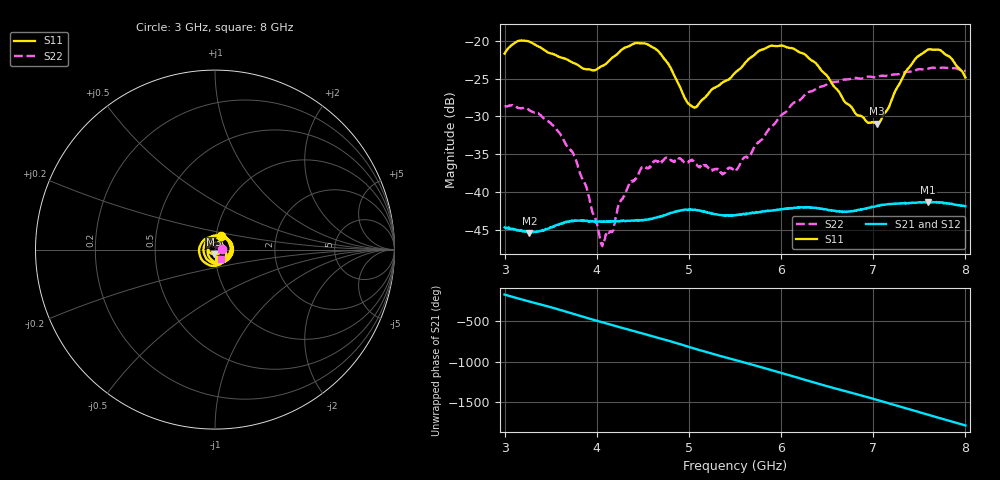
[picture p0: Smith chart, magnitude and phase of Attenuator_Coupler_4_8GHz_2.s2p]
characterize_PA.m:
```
clc 
clear all

% figure;
% hold on;
% before using this file to characterize your PA, please make sure you have
% biased your amplifier and turn the power supplies ON. To minimize the
% possibility of damaging your device, we only take measurements from the 
% DC power supplies. We do not turn the power supplies ON or OFF.
%%
% single-ended or doherty amplifier measurement
is_doherty = 1;

% frequency settings 
f_start =4.7e9;
f_stop =5.3e9;
f_step = 0.1e9;

% desired characterization power range (in dBm) at the output of the driver
p_c_start = 20;
p_c_stop = 30;
p_c_step = 1; % coarse step

% p_f_start = 30;
% p_f_stop = 31;
% p_f_step = 1; % fine step

% it is important to set the signal generator's maximum allowable input to
% avoid damaging the driver and PA during the automatic sweep
% ESG_Add = num2str(19);
% ESG_max_power = 0;
SG=SignalGenerator_E8267D(19,-16);

% create the power meter
% PM_Add = num2str(15);
PM = PowerMeter_N1911A(15);

% create the driver 
DR = Driver('driver_data_2017-08-21-10-44');
% DR = Driver('driver_data_2015-02-22-12-50');
% DR = Driver('driver_data_2015-02-21-16-59_625to1075_G=45perc');

% DR = Driver('driver_data_2015-02-21-22-05');

% create the output coupler/attenuator
ATN=Attenuator('Attenuator_Coupler_4_8GHz_2.s2p');
% ATN=Attenuator('Attenuator_WilkAeroflex_33dB_Oct31.s2p');

% create the main power supply
% PS_m_Add = num2str(5); % GPIB address for the main power source
PS_m = PowerSupply_N6705A(5);
PS_m_chan = 1; % channel to measure from

% create the auxiliary power supply
if(is_doherty)
%     PS_a_Add = num2str(6); % GPIB address for the aux power source
    PS_a = PowerSupply_F3643A(7);
end

% connect to the instruments
SG.connect;
PM.connect;
PS_m.connect;
if(is_doherty)
    PS_a.connect;
end

% preset the signal generator and power meter 
% SG.preset;
PM.preset;
SG.modulation_off

f_points = 1+(f_stop-f_start)/f_step;
p_c_points = 1+(p_c_stop-p_c_start)/p_c_step;
% p_f_points = 1+(p_f_stop-p_f_start)/p_f_step;

% pre-allocate memory for the data
% data(1:f_points) = struct( 'frequency', 0, 'table', zeros(p_c_points+p_f_points,10));
data(1:f_points) = struct( 'frequency', 0, 'table', zeros(p_c_points,10));

for freq=f_start:f_step:f_stop
    f_idx = 1+(freq-f_start)/f_step;
    fprintf('Frequency is %g Hz (%d of %d)\n', freq, f_idx, f_points);
    SG.frequency(freq);
    PM.frequency(freq);
    PM.offset(ATN.attenuation(freq)+0.5);
    fprintf('Attenuation at %g Hz is %g dB\n', freq, ATN.attenuation(freq)+0.5);
    %PM.offset(0);
    PM.zero_and_cal;
        
    data(f_idx).frequency = freq;   
    
    % coarse power sweep
    for p_in=p_c_start:p_c_step:p_c_stop
        p_idx = 1+(p_in-p_c_start)/p_c_step;                
        
        p_sg = DR.sg_power_for(freq, p_in);
        SG.power(p_sg);
        p_sg = SG.power; % read what the actual signal generator power is
        fprintf('SG power is %02.2f \n', p_sg);
        fprintf('p_in is %02.2f \n', p_in);
                
        SG.rf(1); % measurement start    
        pause(2);
        V_m = PS_m.voltage(PS_m_chan);
        I_m = PS_m.current(PS_m_chan);
        if(is_doherty)
            V_a = PS_a.voltage;
            I_a = PS_a.current;
        end
        p_out = PM.measure;
        SG.rf(0); % measurement end
        
        fprintf('P_out is %2.4f \n', p_out);
        fprintf('I_m is %2.4f \n', I_m);
        
        if(is_doherty)
            fprintf('I_a is %2.4f \n', I_a);                        
        else
            V_a = 0;
            I_a = 0;
        end

        gain = p_out-p_in;
        fprintf('Gain is %2.4f \n', gain);
        p_out_w = 10^((p_out-30)/10); % p_out in Watts
        p_in_w = 10^((p_in-30)/10); % p_in in Watts
        p_dc = (V_m*I_m+V_a*I_a);
        DE = 100*p_out_w/p_dc;
        fprintf('DE is %3.2f\n', DE);
        fprintf('---------------\n');
        PAE = 100*(p_out_w - p_in_w)/p_dc;
        
        
        % create the data table
        data(f_idx).table(p_idx,1) = p_sg;     % signal generator power level
        data(f_idx).table(p_idx,2) = p_in;  % PA_in (a.k.a Driver_out)
        data(f_idx).table(p_idx,3) = p_out; % PA_out
        data(f_idx).table(p_idx,4) = gain;     % gain
        data(f_idx).table(p_idx,5) = V_m;      % main voltage
        data(f_idx).table(p_idx,6) = I_m;      % main current
        data(f_idx).table(p_idx,7) = V_a;      % auxiliary voltage
        data(f_idx).table(p_idx,8) = I_a;      % auxiliary current
        data(f_idx).table(p_idx,9) = PAE;      % PAE
        data(f_idx).table(p_idx,10) = DE;      % drain efficiency    
        %pause(2);
    end
    
    
    % fine power sweep
%     for p_in=p_f_start:p_f_step:p_f_stop
%         p_idx = 1+(p_in-p_f_start)/p_f_step + p_c_points; % index accounts for coarse data points
%         
%         p_sg = DR.sg_power_for(freq, p_in);
%         SG.power(p_sg);
%         p_sg = SG.power; % read what the actual signal generator power is
%         fprintf('SG power is %02.2f \n', p_sg);
%         fprintf('p_in is %02.2f \n', p_in);
%                 
%         SG.rf(1); % measurement start 
%         pause(2);
%         V_m = PS_m.voltage(PS_m_chan);
%         I_m = PS_m.current(PS_m_chan);
%         if(is_doherty)
%             V_a = PS_a.voltage;
%             I_a = PS_a.current;
%         end
%         p_out = PM.measure;
%         SG.rf(0); % measurement end
%         
%         fprintf('p_out is %2.4f \n', p_out);
%         fprintf('I_m is %2.4f \n', I_m);
%         
%         if(is_doherty)
%             fprintf('I_a is %2.4f \n', I_a);                        
%         else
%             V_a = 0;
%             I_a = 0;
%         end
% 
%         gain = p_out-p_in;
%         fprintf('Gain is %2.4f \n', gain);
%         p_out_w = 10^((p_out-30)/10); % p_out in Watts
%         p_in_w = 10^((p_in-30)/10); % p_in in Watts
%         p_dc = (V_m*I_m+V_a*I_a);
%         DE = 100*p_out_w/p_dc;
%         fprintf('DE is %3.2f\n', DE); 
%         fprintf('---------------\n');
%         PAE = 100*(p_out_w - p_in_w)/p_dc;
%         
%         
%         % create the data table
%         data(f_idx).table(p_idx,1) = p_sg;     % signal generator power level
%         data(f_idx).table(p_idx,2) = p_in;  % PA_in (a.k.a Driver_out)
%         data(f_idx).table(p_idx,3) = p_out; % PA_out
%         data(f_idx).table(p_idx,4) = gain;     % gain
%         data(f_idx).table(p_idx,5) = V_m;      % main voltage
%         data(f_idx).table(p_idx,6) = I_m;      % main current
%         data(f_idx).table(p_idx,7) = V_a;      % auxiliary voltage
%         data(f_idx).table(p_idx,8) = I_a;      % auxiliary current
%         data(f_idx).table(p_idx,9) = PAE;      % PAE
%         data(f_idx).table(p_idx,10) = DE;      % drain efficiency       
%         %pause(2);
%     end
end
%
%
i_m = data(f_idx).table(:,6);
pin = data(f_idx).table(:,2);
vin = 10.^((pin-30)/20);
% figure(1)
% figure; plot(data(f_idx).table(:,3),data(f_idx).table(:,10));
% figure(2)
% figure; plot(data(f_idx).table(:,3),data(f_idx).table(:,4))
% figure; plot(vin,i_m)
% hold off;
data_file_name = [ 'PA_data_' datestr(now,'yyyy-mm-dd-HH-MM' )];
save(data_file_name, 'data');
%
%
close all
linestyle1=char('-ro', '-m*', '-c^', '-bv', '-gs', '-y>', '-k<');
% load('PA_data_2017-08-19-21-39')
Nf=length(data);
freq=zeros(1,Nf);
Psat=zeros(1,Nf);
for i=1:Nf
    freq(i)=data(i).frequency;
    Psat(i)=max(data(i).table(:,3));
end 
% figure; plot(data(f_idx).table(:,3),data(f_idx).table(:,10))
% figure; plot(data(f_idx).table(:,3),data(f_idx).table(:,4))
figure(1)
hold on
for i=1:Nf
    plot(data(i).table(:,3),data(i).table(:,10),linestyle1(i,:),'linewidth',1)
end
% for i=1:Nx
%     plot(Pout_dB_mark(:,i),eff_mark(:,i),linestyle1(i,2:3),'linewidth',2);
%     plot(Pout_dB(:,i),eff(:,i),linestyle1(i,1:2),'linewidth',2);
% end
set(gcf,'color','w');
axis([20,40,0,60]);
h=legend('4.7GHz','4.8GHz','4.9GHz','5.0GHz','5.1GHz','5.2GHz','5.3GHz');
set(h,'fontsize',14,'fontname','Times New Roman')
% title('DE vs Normalized Pout for various x_n','fontsize',14,'fontname','Times New Roman');
xlabel('Output Power (dBm)','fontsize',15,'fontname','Times New Roman','fontweight','b');
ylabel('Drain Efficiency','fontsize',15,'fontname','Times New Roman','fontweight','b');    
hold off    
grid on
% Æ½Ê±¼òµ¥µÄ»æÍ¼ÈçÏÂ
figure(2)
hold on
for i=1:Nf
    plot(data(i).table(:,3),data(i).table(:,4),linestyle1(i,:),'linewidth',1)
end
% for i=1:Nx
%     plot(Pout_dB_mark(:,i),eff_mark(:,i),linestyle1(i,2:3),'linewidth',2);
%     plot(Pout_dB(:,i),eff(:,i),linestyle1(i,1:2),'linewidth',2);
% end
set(gcf,'color','w');
axis([20,40,0,10]);
h=legend('4.7GHz','4.8GHz','4.9GHz','5.0GHz','5.1GHz','5.2GHz','5.3GHz');
set(h,'fontsize',14,'fontname','Times New Roman')
% title('DE vs Normalized Pout for various x_n','fontsize',14,'fontname','Times New Roman');
xlabel('Output Power (dBm)','fontsize',15,'fontname','Times New Roman','fontweight','b');
ylabel('Gain (dB)','fontsize',15,'fontname','Times New Roman','fontweight','b');    
hold off    
grid on
figure(3)
hold on
for i=1:Nf
    plot(data(i).table(:,3),data(i).table(:,6)*1000,linestyle1(i,:),'linewidth',1)
end
% for i=1:Nx
%     plot(Pout_dB_mark(:,i),eff_mark(:,i),linestyle1(i,2:3),'linewidth',2);
%     plot(Pout_dB(:,i),eff(:,i),linestyle1(i,1:2),'linewidth',2);
% end
set(gcf,'color','w');
axis([20,40,0,400]);
h=legend('4.7GHz','4.8GHz','4.9GHz','5.0GHz','5.1GHz','5.2GHz','5.3GHz');
set(h,'fontsize',14,'fontname','Times New Roman')
for i=1:Nf
    plot(data(i).table(:,3),data(i).table(:,8)*1000,linestyle1(i,:),'linewidth',1)
end
% title('DE vs Normalized Pout for various x_n','fontsize',14,'fontname','Times New Roman');
xlabel('Output Power (dBm)','fontsize',15,'fontname','Times New Roman','fontweight','b');
ylabel('DC Drain Current (mA)','fontsize',15,'fontname','Times New Roman','fontweight','b');    
hold off    
grid on
%
figure(4)
hold on
plot(freq/1e9, Psat, linestyle1(1,:),'linewidth',1)
set(gcf,'color','w');
axis([4.7,5.3,37,41]);
% h=legend('4.9GHz','5.0GHz','5.1GHz');
% set(h,'fontsize',14,'fontname','Times New Roman')
% title('DE vs Normalized Pout for various x_n','fontsize',14,'fontname','Times New Roman');
xlabel('Frequency (GHz)','fontsize',15,'fontname','Times New Roman','fontweight','b');
ylabel('Saturation Pout (dBm)','fontsize',15,'fontname','Times New Roman','fontweight','b');    
hold off    
grid on
```
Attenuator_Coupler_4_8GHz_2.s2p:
!Keysight Technologies,N5247A,US56070658,Z.10.62.16
!Date: Tuesday, August 15, 2017 17:07:40
!Correction: S11(Full 2 Port(1,2))
!S21(Full 2 Port(1,2))
!S12(Full 2 Port(1,2))
!S22(Full 2 Port(1,2))
!S2P File: Measurements: S11, S21, S12, S22:
# Hz S  dB  R 50
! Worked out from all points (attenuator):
!   1001 points, 3 GHz to 8 GHz, reference 50 ohm
!   highest |S21| = -41.29 dB at 7.595 GHz (marker M1); lowest = -45.4 dB at 3.27 GHz (marker M2)
!   lowest |S11| = -31.0 dB at 7.04 GHz (marker M3), VSWR 1.06, Z = 49.1 - j2.67 ohm
!   |S11| at or under -10 dB: start of sweep to end of sweep
!   |S22| runs from -47.1 to -23.5 dB; largest |S21 - S12| = 0.00013
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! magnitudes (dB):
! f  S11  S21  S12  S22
! 3 GHz  -21.7  -44.7  -44.7  -28.7
! 3.27 GHz  -20.1  -45.4  -45.3  -29.2
! 3.745 GHz  -22.9  -43.9  -43.7  -34.9
! 4.06 GHz  -23.3  -43.9  -43.9  -47.1
! 4.5 GHz  -20.4  -43.7  -43.7  -36.7
! 5.05 GHz  -28.8  -42.3  -42.3  -35.9
! 5.5 GHz  -24.2  -43.1  -43.0  -37.2
! 6.13 GHz  -21.0  -42.1  -42.1  -28.3
! 7.04 GHz  -31.0  -41.8  -41.8  -24.8
! 7.595 GHz  -21.2  -41.3  -41.3  -23.7
! 8 GHz  -24.9  -41.9  -41.9  -24.0
